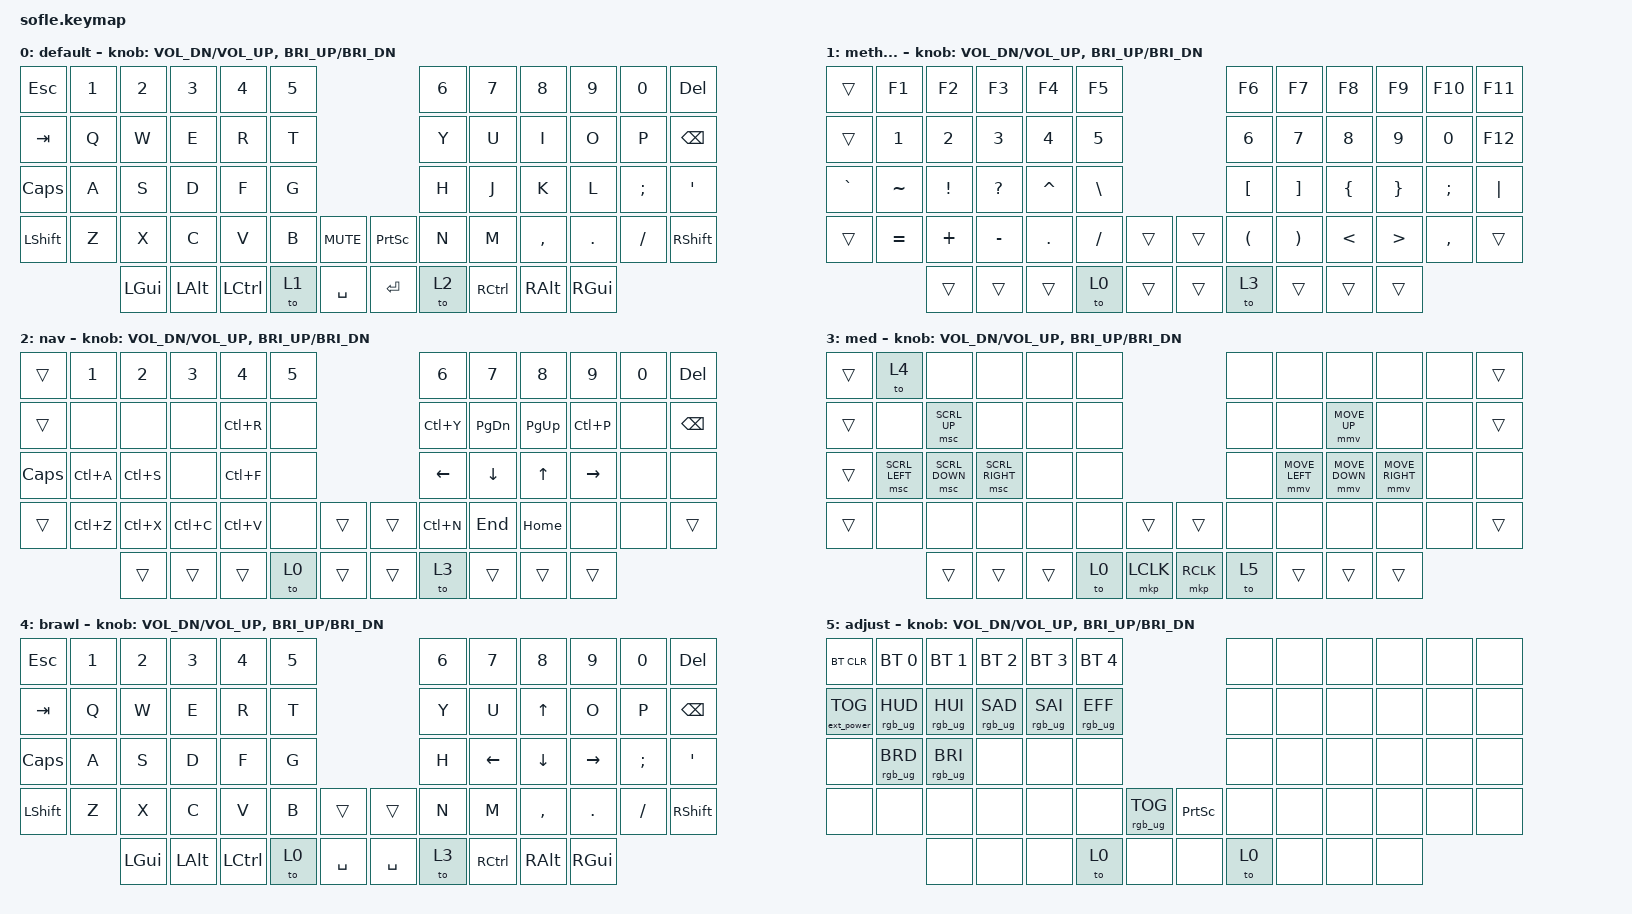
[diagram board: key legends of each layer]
/*
 * Copyright (c) 2020 The ZMK Contributors
 *
 * SPDX-License-Identifier: MIT
 */

#include <behaviors.dtsi>
#include <dt-bindings/zmk/bt.h>
#include <dt-bindings/zmk/ext_power.h>
#include <dt-bindings/zmk/keys.h>
#include <dt-bindings/zmk/pointing.h>
#include <dt-bindings/zmk/rgb.h>

#define BASE 0
#define LOWER 1
#define RAISE 2
#define ADJUST 3

/ {
    // Activate ADJUST layer by pressing raise and lower

    conditional_layers {
        compatible = "zmk,conditional-layers";

        adjust_layer {
            if-layers = <1 2>;
            then-layer = <5>;
        };
    };

    keymap {
        compatible = "zmk,keymap";

        normal {
            label = "default";

            // ------------------------------------------------------------------------------------------------------------
            // |   `   |  1  |  2  |  3   |  4   |  5   |                   |  6   |  7    |  8    |  9   |   0   |       |
            // |  ESC  |  Q  |  W  |  E   |  R   |  T   |                   |  Y   |  U    |  I    |  O   |   P   | BKSPC |
            // |  TAB  |  A  |  S  |  D   |  F   |  G   |                   |  H   |  J    |  K    |  L   |   ;   |   '   |
            // | SHIFT |  Z  |  X  |  C   |  V   |  B   |  MUTE  |  |       |  N   |  M    |  ,    |  .   |   /   | SHIFT |
            //               | GUI | ALT  | CTRL | LOWER|  ENTER |  | SPACE | RAISE| CTRL  | ALT   | GUI  |

            bindings = <
&kp ESC    &kp N1  &kp N2    &kp N3    &kp N4     &kp N5                            &kp N6  &kp N7     &kp N8     &kp N9    &kp N0    &kp DELETE
&kp TAB    &kp Q   &kp W     &kp E     &kp R      &kp T                             &kp Y   &kp U      &kp I      &kp O     &kp P     &kp BSPC
&kp CAPS   &kp A   &kp S     &kp D     &kp F      &kp G                             &kp H   &kp J      &kp K      &kp L     &kp SEMI  &kp SQT
&kp LSHFT  &kp Z   &kp X     &kp C     &kp V      &kp B   &kp C_MUTE    &kp PSCRN   &kp N   &kp M      &kp COMMA  &kp DOT   &kp FSLH  &kp RSHFT
                   &kp LGUI  &kp LALT  &kp LCTRL  &to 1   &kp SPACE     &kp RETURN  &to 2   &kp RCTRL  &kp RALT   &kp RGUI
            >;

            sensor-bindings =
                <&inc_dec_kp C_VOL_DN C_VOL_UP>,
                <&inc_dec_kp C_BRI_UP C_BRI_DN>;
        };

        METH {
            label = "meth...";

            // TODO: Some binds are waiting for shifted keycode support.
            // ------------------------------------------------------------------------------------------------------------
            // |       |  F1 |  F2 |  F3  |  F4  |  F5  |                   |  F6  |  F7   |  F8   |  F9  |  F10  |  F11  |
            // |   `   |  1  |  2  |  3   |  4   |  5   |                   |  6   |  7    |  8    |  9   |   0   |  F12  |
            // |       |  !  |  @  |  #   |  $   |  %   |                   |  ^   |  &    |  *    |  (   |   )   |   |   |
            // |       |  =  |  -  |  +   |  {   |  }   |        |  |       |  [   |  ]    |  ;    |  :   |   \   |       |
            //               |     |      |      |      |        |  |       |      |       |       |      |

            bindings = <
&trans     &kp F1     &kp F2           &kp F3        &kp F4     &kp F5                           &kp F6                &kp F7                 &kp F8          &kp F9            &kp F10        &kp F11
&trans     &kp N1     &kp N2           &kp N3        &kp N4     &kp N5                           &kp N6                &kp N7                 &kp N8          &kp N9            &kp N0         &kp F12
&kp GRAVE  &kp TILDE  &kp EXCLAMATION  &kp QUESTION  &kp CARET  &kp BACKSLASH                    &kp LEFT_BRACKET      &kp RIGHT_BRACKET      &kp LEFT_BRACE  &kp RIGHT_BRACE   &kp SEMICOLON  &kp PIPE
&trans     &kp EQUAL  &kp PLUS         &kp MINUS     &kp DOT    &kp SLASH      &trans    &trans  &kp LEFT_PARENTHESIS  &kp RIGHT_PARENTHESIS  &kp LESS_THAN   &kp GREATER_THAN  &kp COMMA      &trans
                      &trans           &trans        &trans     &to 0          &trans    &trans  &to 3                 &trans                 &trans          &trans
            >;

            sensor-bindings =
                <&inc_dec_kp C_VOL_DN C_VOL_UP>,
                <&inc_dec_kp C_BRI_UP C_BRI_DN>;
        };

        navigation {
            label = "nav";

            // ------------------------------------------------------------------------------------------------------------
            // | BTCLR | BT1  | BT2  |  BT3  |  BT4  |  BT5 |                |      |      |       |      |       |       |
            // |       | INS  | PSCR | GUI   |       |      |                | PGUP |      |   ^   |      |       |       |
            // |       | ALT  | CTRL | SHIFT |       | CAPS |                | PGDN |   <- |   v   |  ->  |  DEL  | BKSPC |
            // |       | UNDO | CUT  | COPY  | PASTE |      |      |  |      |      |      |       |      |       |       |
            //                |      |       |       |      |      |  |      |      |      |       |      |

            bindings = <
&trans    &kp N1     &kp N2     &kp N3     &kp N4     &kp N5                    &kp N6     &kp N7     &kp N8     &kp N9     &kp N0  &kp DELETE
&trans    &none      &none      &none      &kp LC(R)  &none                     &kp LC(Y)  &kp PG_DN  &kp PG_UP  &kp LC(P)  &none   &kp BACKSPACE
&kp CAPS  &kp LC(A)  &kp LC(S)  &none      &kp LC(F)  &none                     &kp LEFT   &kp DOWN   &kp UP     &kp RIGHT  &none   &none
&trans    &kp LC(Z)  &kp LC(X)  &kp LC(C)  &kp LC(V)  &none   &trans    &trans  &kp LC(N)  &kp END    &kp HOME   &none      &none   &trans
                     &trans     &trans     &trans     &to 0   &trans    &trans  &to 3      &trans     &trans     &trans
            >;

            sensor-bindings =
                <&inc_dec_kp C_VOL_DN C_VOL_UP>,
                <&inc_dec_kp C_BRI_UP C_BRI_DN>;
        };

        medium {
            bindings = <
&trans  &to 4           &none           &none            &none   &none                          &none  &none           &none           &none            &none  &trans
&trans  &none           &msc SCRL_UP    &none            &none   &none                          &none  &none           &mmv MOVE_UP    &none            &none  &trans
&trans  &msc SCRL_LEFT  &msc SCRL_DOWN  &msc SCRL_RIGHT  &none   &none                          &none  &mmv MOVE_LEFT  &mmv MOVE_DOWN  &mmv MOVE_RIGHT  &none  &none
&trans  &none           &none           &none            &none   &none  &trans       &trans     &none  &none           &none           &none            &none  &trans
                        &trans          &trans           &trans  &to 0  &mkp LCLK    &mkp RCLK  &to 5  &trans          &trans          &trans
            >;

            label = "med";
            sensor-bindings =
                <&inc_dec_kp C_VOL_DN C_VOL_UP>,
                <&inc_dec_kp C_BRI_UP C_BRI_DN>;
        };

        Brawhalla {
            label = "brawl";
            bindings = <
&kp ESC    &kp N1  &kp N2    &kp N3    &kp N4     &kp N5                          &kp N6  &kp N7          &kp N8     &kp N9     &kp N0    &kp DELETE
&kp TAB    &kp Q   &kp W     &kp E     &kp R      &kp T                           &kp Y   &kp U           &kp UP     &kp O      &kp P     &kp BSPC
&kp CAPS   &kp A   &kp S     &kp D     &kp F      &kp G                           &kp H   &kp LEFT_ARROW  &kp DOWN   &kp RIGHT  &kp SEMI  &kp SQT
&kp LSHFT  &kp Z   &kp X     &kp C     &kp V      &kp B   &trans       &trans     &kp N   &kp M           &kp COMMA  &kp DOT    &kp FSLH  &kp RSHFT
                   &kp LGUI  &kp LALT  &kp LCTRL  &to 0   &kp SPACE    &kp SPACE  &to 3   &kp RCTRL       &kp RALT   &kp RGUI
            >;

            sensor-bindings =
                <&inc_dec_kp C_VOL_DN C_VOL_UP>,
                <&inc_dec_kp C_BRI_UP C_BRI_DN>;
        };

        adjust_layer {
            // ----------------------------------------------------------------------------------------------------------------------------
            // | BTCLR  |  BT1    |  BT2    |   BT3   |   BT4   |   BT5   |                  |      |      |       |      |       |       |
            // | EXTPWR | RGB_HUD | RGB_HUI | RGB_SAD | RGB_SAI | RGB_EFF |                  |      |      |       |      |       |       |
            // |        | RGB_BRD | RGB_BRI |         |         |         |                  |      |      |       |      |       |       |
            // |        |         |         |         |         |         | RGB_TOG | |      |      |      |       |      |       |       |
            //                    |         |         |         |         |         | |      |      |      |       |      |

            label = "adjust";
            bindings = <
&bt BT_CLR         &bt BT_SEL 0     &bt BT_SEL 1     &bt BT_SEL 2     &bt BT_SEL 3     &bt BT_SEL 4                                   &none  &none  &none  &none  &none  &none
&ext_power EP_TOG  &rgb_ug RGB_HUD  &rgb_ug RGB_HUI  &rgb_ug RGB_SAD  &rgb_ug RGB_SAI  &rgb_ug RGB_EFF                                &none  &none  &none  &none  &none  &none
&none              &rgb_ug RGB_BRD  &rgb_ug RGB_BRI  &none            &none            &none                                          &none  &none  &none  &none  &none  &none
&none              &none            &none            &none            &none            &none            &rgb_ug RGB_TOG    &kp PSCRN  &none  &none  &none  &none  &none  &none
                                    &none            &none            &none            &to 0            &none              &none      &to 0  &none  &none  &none
            >;

            sensor-bindings =
                <&inc_dec_kp C_VOL_DN C_VOL_UP>,
                <&inc_dec_kp C_BRI_UP C_BRI_DN>;
        };
    };
};
